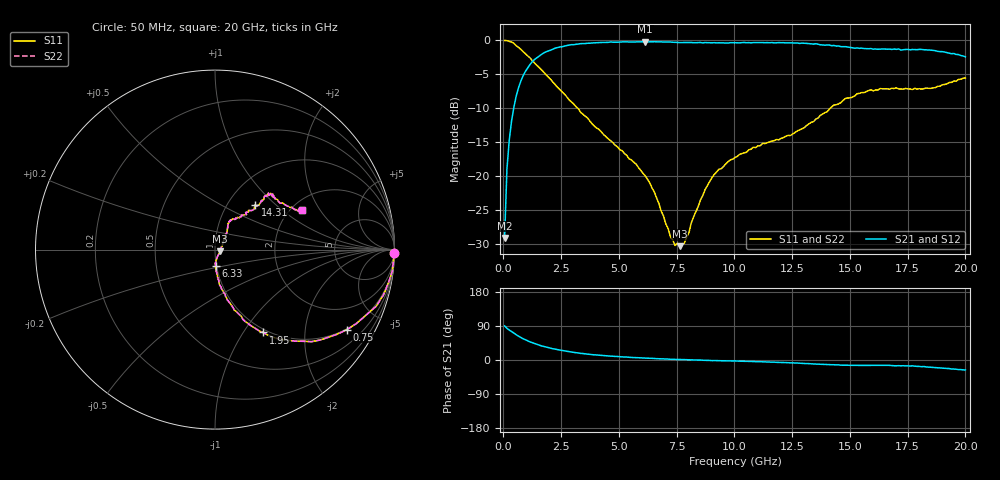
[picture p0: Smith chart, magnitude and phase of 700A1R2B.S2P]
!  American Technical Ceramics  Date:  3/13/98
!  One Norden Lane
!  Huntington Station,  NY.  11746-2102
!  Tel:  (516) 547-5700  Fax:  (516) 547-5748
!  Part Number  700A1R2B
!  Description: Porcelain, High Q, Low ESR
!  Application: Bypass, Coupling, Timing, Feedback
!  Tuning, Impedance Match, Blocking
# GHZ S DB R 50
! Freq  |S11|  S11 Ph  |S21|  S21 Ph  |S12|  S12 Ph  |S22|  S22 Ph
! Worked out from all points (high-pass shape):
!   201 points, 50 MHz to 20 GHz, reference 50 ohm
!   highest |S21| = -0.20 dB at 6.13 GHz (marker M1); lowest = -29.1 dB at 50 MHz (marker M2)
!   |S21| within 3 dB of the highest: 1.233 GHz to end of sweep
!   lowest |S11| = -30.3 dB at 7.63 GHz (marker M3), VSWR 1.06, Z = 53 - j1 ohm
!   |S11| at or under -10 dB: 3.22 GHz to 14.15 GHz (10.93 GHz wide, 126 % of centre)
!   |S22| runs from -30.3 to 0.0 dB; largest |S21 - S12| = 0
!   S11 on the Smith chart (normalised r, x): 50 MHz: 5, -93; 750 MHz: 0.97, -3.32; 1.95 GHz: 0.95, -1.23; 6.33 GHz: 0.99, -0.18; 14.31 GHz: 1.34, +0.75; 20 GHz: 2.28, +1.38
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0.05  -0.01 -1.2  -29.08 89.9  -29.08 89.9  -0.01 -1.2
0.15  -0.04 -6.7  -19.01 83.6  -19.01 83.6  -0.04 -6.7
0.25  -0.14 -10.9  -14.70 79.0  -14.70 79.0  -0.14 -10.9
0.45  -0.43 -19.4  -9.88 71.1  -9.88 71.1  -0.43 -19.4
0.75  -1.31 -31.2  -6.02 59.6  -6.02 59.6  -1.31 -31.2
1.15  -2.58 -43.7  -3.55 47.8  -3.55 47.8  -2.58 -43.7
1.95  -5.45 -59.9  -1.55 32.6  -1.55 32.6  -5.45 -59.9
3.44  -10.86 -76.4  -0.47 17.1  -0.47 17.1  -10.86 -76.4
6.13  -19.91 -87.8  -0.20 5.0  -0.20 5.0  -19.91 -87.8
6.33  -20.97 -87.8  -0.20 4.7  -0.20 4.7  -20.97 -87.8
6.73  -24.01 -85.2  -0.21 3.3  -0.21 3.3  -24.01 -85.2
7.23  -28.91 -61.4  -0.24 1.9  -0.24 1.9  -28.91 -61.4
7.63  -30.30 -18.1  -0.32 1.3  -0.32 1.3  -30.30 -18.1
7.83  -29.88 3.8  -0.32 1.0  -0.32 1.0  -29.88 3.8
8.53  -23.49 44.6  -0.31 -0.1  -0.31 -0.1  -23.49 44.6
9.03  -20.18 51.8  -0.36 -1.6  -0.36 -1.6  -20.18 51.8
10.03  -17.22 59.2  -0.34 -2.7  -0.34 -2.7  -17.22 59.2
13.42  -11.98 50.1  -0.55 -10.5  -0.55 -10.5  -11.98 50.1
14.31  -9.51 48.1  -0.75 -12.5  -0.75 -12.5  -9.51 48.1
16.71  -7.20 44.8  -1.28 -14.1  -1.28 -14.1  -7.20 44.8
18.2  -7.11 39.7  -1.38 -17.2  -1.38 -17.2  -7.11 39.7
20  -5.53 24.4  -2.41 -26.4  -2.41 -26.4  -5.53 24.4
